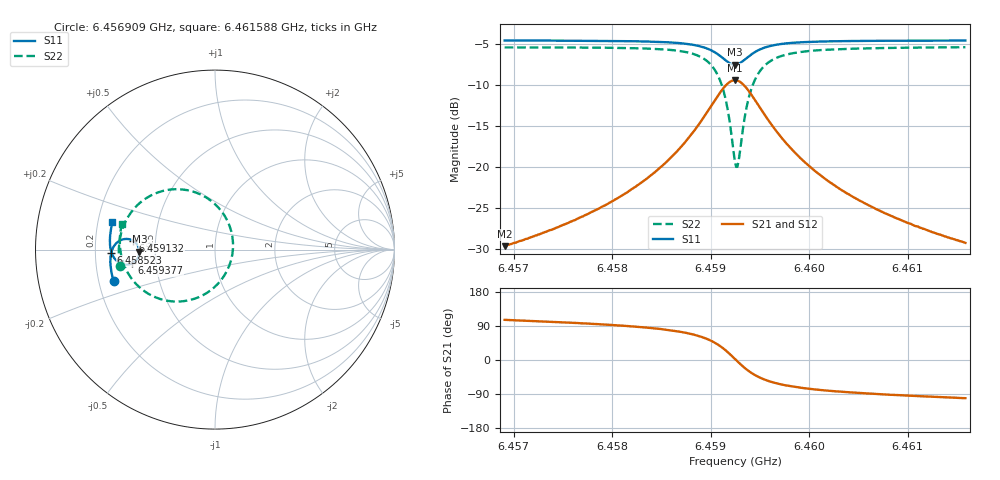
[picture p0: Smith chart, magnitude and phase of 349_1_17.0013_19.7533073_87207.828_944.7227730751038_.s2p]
#  HZ  S  RI  R  50.00
! Rohde & Schwarz Vector Network Analyzer
! Rohde-Schwarz,ZNB20-2Port,1311601062101988,3.16
! Created: UTC 3/20/2024, 11:07:44 PM
! freq[Hz]  re:S11  im:S11  re:S21  im:S21  re:S12  im:S12  re:S22  im:S22
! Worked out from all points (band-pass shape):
!   401 points, 6.456909 GHz to 6.461588 GHz, reference 50 ohm
!   highest |S21| = -9.40 dB at 6.459249 GHz (marker M1); lowest = -29.7 dB at 6.456909 GHz (marker M2)
!   |S21| within 3 dB of the highest: 6.459015 GHz to 6.459483 GHz (467.8 kHz wide, 0.00724 % of centre)
!   lowest |S11| = -7.5 dB at 6.459249 GHz (marker M3), VSWR 2.46, Z = 20.4 - j0.594 ohm
!   |S11| at or under -10 dB: nowhere
!   |S22| runs from -20.0 to -5.4 dB; largest |S21 - S12| = 0.013
!   S11 on the Smith chart (normalised r, x): 6.456909 GHz: 0.26, -0.14; 6.458523 GHz: 0.27, -0.02; 6.459132 GHz: 0.37, +0.05; 6.459377 GHz: 0.36, -0.07; 6.461588 GHz: 0.26, +0.12
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6.4569095e9  -0.5649 -0.1775  -0.00906 0.0316  -0.00749 0.0317  -0.5295 -0.09
6.4576931e9  -0.5798 -0.1094  -0.00596 0.0494  -0.0035 0.0487  -0.536 0.000153
6.4581375e9  -0.5832 -0.0652  1.23e-05 0.0692  0.00333 0.0678  -0.5283 0.0693
6.4584767e9  -0.5798 -0.025  0.0132 0.0969  0.0172 0.0943  -0.5044 0.1446
6.4585234e9  -0.5783 -0.0187  0.0164 0.1023  0.0205 0.0993  -0.4981 0.1576
6.458734e9  -0.5666 0.0132  0.0421 0.1335  0.0461 0.1288  -0.4505 0.2284
6.458886e9  -0.5455 0.0394  0.0838 0.1635  0.0872 0.1571  -0.3737 0.2923
6.459038e9  -0.5003 0.0591  0.1739 0.1827  0.175 0.1753  -0.2091 0.3365
6.4591316e9  -0.4565 0.0496  0.2625 0.1523  0.2628 0.1464  -0.0457 0.2884
6.4591784e9  -0.4357 0.0313  0.3054 0.1105  0.3067 0.1053  0.0359 0.214
6.4592486e9  -0.421 -0.012  0.3386 0.0155  0.342 0.00873  0.1003 0.0382
6.4592603e9  -0.4214 -0.0198  0.3384 -0.00193  0.342 -0.00942  0.1001 0.00537
6.4592836e9  -0.4248 -0.0351  0.333 -0.0359  0.3368 -0.0449  0.0896 -0.0589
6.4593304e9  -0.44 -0.0606  0.3054 -0.0948  0.3073 -0.1064  0.0338 -0.1698
6.4593772e9  -0.4616 -0.0766  0.2644 -0.1353  0.2635 -0.1481  -0.0489 -0.2435
6.4594708e9  -0.5042 -0.0832  0.1813 -0.1663  0.1753 -0.1774  -0.2138 -0.2894
6.4596228e9  -0.5474 -0.0628  0.0951 -0.1531  0.0868 -0.1591  -0.3781 -0.2418
6.4597982e9  -0.5696 -0.0334  0.0488 -0.1243  0.0416 -0.1268  -0.4608 -0.1669
6.4600321e9  -0.5811 0.00022  0.0223 -0.0953  0.0165 -0.0958  -0.5047 -0.0904
6.460383e9  -0.5856 0.0414  0.0062 -0.0689  0.00236 -0.0685  -0.526 -0.0121
6.4608157e9  -0.5836 0.0846  -0.0014 -0.0508  -0.00401 -0.05  -0.5303 0.0556
6.4615876e9  -0.5712 0.1525  -0.00643 -0.0338  -0.00804 -0.033  -0.5186 0.1453
